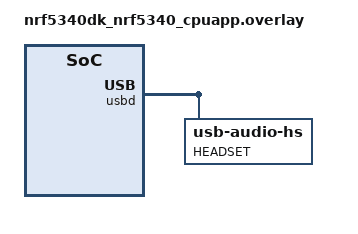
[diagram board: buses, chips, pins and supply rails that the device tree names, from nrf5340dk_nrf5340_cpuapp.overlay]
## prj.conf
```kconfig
CONFIG_USB=y
CONFIG_USB_DEVICE_STACK=y
CONFIG_USB_DEVICE_HID=y
CONFIG_USB_DEVICE_PRODUCT="Zephyr HID mouse/audio sample"

CONFIG_LOG=y
CONFIG_USB_DRIVER_LOG_LEVEL_ERR=y
CONFIG_USB_DEVICE_LOG_LEVEL_ERR=y

CONFIG_GPIO=y

#net buf options
CONFIG_NET_BUF=y
CONFIG_NET_BUF_USER_DATA_SIZE=0

#USB audio related configs
CONFIG_USB_DEVICE_AUDIO=y
```

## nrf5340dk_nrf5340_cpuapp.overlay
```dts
&usbd {
	hs_0 {
		label = "HEADSET";
		compatible = "usb-audio-hs";
		mic-feature-mute;
		mic-channel-l;
		mic-channel-r;

		hp-feature-mute;
		hp-channel-l;
		hp-channel-r;
	};
};
```

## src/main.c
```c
/*
 * Copyright (c) 2018 qianfan Zhao
 * Copyright (c) 2018 Nordic Semiconductor ASA
 *
 * SPDX-License-Identifier: Apache-2.0
 */
#include <zephyr.h>
#include <device.h>
#include <drivers/gpio.h>

#include <usb/usb_device.h>
#include <usb/class/usb_hid.h>
#include <usb/class/usb_audio.h>

#define LOG_LEVEL LOG_LEVEL_DBG
LOG_MODULE_REGISTER(main);

#define SW0_NODE DT_ALIAS(sw0)

#if DT_NODE_HAS_STATUS(SW0_NODE, okay)
#define PORT0		DT_GPIO_LABEL(SW0_NODE, gpios)
#define PIN0		DT_GPIO_PIN(SW0_NODE, gpios)
#define PIN0_FLAGS	DT_GPIO_FLAGS(SW0_NODE, gpios)
#else
#error "Unsupported board: sw0 devicetree alias is not defined"
#define PORT0		""
#define PIN0		0
#define PIN0_FLAGS	0
#endif

#define SW1_NODE DT_ALIAS(sw1)

#if DT_NODE_HAS_STATUS(SW1_NODE, okay)
#define PORT1		DT_GPIO_LABEL(SW1_NODE, gpios)
#define PIN1		DT_GPIO_PIN(SW1_NODE, gpios)
#define PIN1_FLAGS	DT_GPIO_FLAGS(SW1_NODE, gpios)
#endif

#define SW2_NODE DT_ALIAS(sw2)

#if DT_NODE_HAS_STATUS(SW2_NODE, okay)
#define PORT2		DT_GPIO_LABEL(SW2_NODE, gpios)
#define PIN2		DT_GPIO_PIN(SW2_NODE, gpios)
#define PIN2_FLAGS	DT_GPIO_FLAGS(SW2_NODE, gpios)
#endif

#define SW3_NODE DT_ALIAS(sw3)

#if DT_NODE_HAS_STATUS(SW3_NODE, okay)
#define PORT3		DT_GPIO_LABEL(SW3_NODE, gpios)
#define PIN3		DT_GPIO_PIN(SW3_NODE, gpios)
#define PIN3_FLAGS	DT_GPIO_FLAGS(SW3_NODE, gpios)
#endif

#define LED0_NODE DT_ALIAS(led0)

#if DT_NODE_HAS_STATUS(LED0_NODE, okay)
#define LED_PORT	DT_GPIO_LABEL(LED0_NODE, gpios)
#define LED		DT_GPIO_PIN(LED0_NODE, gpios)
#define LED_FLAGS	DT_GPIO_FLAGS(LED0_NODE, gpios)
#else
#error "Unsupported board: led0 devicetree alias is not defined"
#define LED_PORT	""
#define LED		0
#define LED_FLAGS	0
#endif

static const uint8_t hid_report_desc[] = HID_MOUSE_REPORT_DESC(2);

static uint8_t def_val[4];
static volatile uint8_t status[4];
static K_SEM_DEFINE(sem, 0, 1);	/* starts off "not available" */
static struct gpio_callback callback[4];
static enum usb_dc_status_code usb_status;

#define MOUSE_BTN_REPORT_POS	0
#define MOUSE_X_REPORT_POS	1
#define MOUSE_Y_REPORT_POS	2

#define MOUSE_BTN_LEFT		BIT(0)
#define MOUSE_BTN_RIGHT		BIT(1)
#define MOUSE_BTN_MIDDLE	BIT(2)



static void status_cb(enum usb_dc_status_code status, const uint8_t *param)
{
	usb_status = status;
}

static void left_button(const struct device *gpio, struct gpio_callback *cb,
			uint32_t pins)
{
	int ret;
	uint8_t state = status[MOUSE_BTN_REPORT_POS];

	if (IS_ENABLED(CONFIG_USB_DEVICE_REMOTE_WAKEUP)) {
		if (usb_status == USB_DC_SUSPEND) {
			usb_wakeup_request();
			return;
		}
	}

	ret = gpio_pin_get(gpio, PIN0);
	if (ret < 0) {
		LOG_ERR("Failed to get the state of pin %u, error: %d",
			PIN0, ret);
		return;
	}

	if (def_val[0] != (uint8_t)ret) {
		state |= MOUSE_BTN_LEFT;
	} else {
		state &= ~MOUSE_BTN_LEFT;
	}

	if (status[MOUSE_BTN_REPORT_POS] != state) {
		status[MOUSE_BTN_REPORT_POS] = state;
		k_sem_give(&sem);
	}
}

#if DT_NODE_HAS_STATUS(SW1_NODE, okay)
static void right_button(const struct device *gpio, struct gpio_callback *cb,
			 uint32_t pins)
{
	int ret;
	uint8_t state = status[MOUSE_BTN_REPORT_POS];

	if (IS_ENABLED(CONFIG_USB_DEVICE_REMOTE_WAKEUP)) {
		if (usb_status == USB_DC_SUSPEND) {
			usb_wakeup_request();
			return;
		}
	}

	ret = gpio_pin_get(gpio, PIN1);
	if (ret < 0) {
		LOG_ERR("Failed to get the state of pin %u, error: %d",
			PIN1, ret);
		return;
	}

	if (def_val[1] != (uint8_t)ret) {
		state |= MOUSE_BTN_RIGHT;
	} else {
		state &= ~MOUSE_BTN_RIGHT;
	}

	if (status[MOUSE_BTN_REPORT_POS] != state) {
		status[MOUSE_BTN_REPORT_POS] = state;
		k_sem_give(&sem);
	}
}
#endif

#if DT_NODE_HAS_STATUS(SW2_NODE, okay)
static void x_move(const struct device *gpio, struct gpio_callback *cb,
		   uint32_t pins)
{
	int ret;
	uint8_t state = status[MOUSE_X_REPORT_POS];

	ret = gpio_pin_get(gpio, PIN2);
	if (ret < 0) {
		LOG_ERR("Failed to get the state of pin %u, error: %d",
			PIN2, ret);
		return;
	}

	if (def_val[2] != (uint8_t)ret) {
		state += 10U;
	}

	if (status[MOUSE_X_REPORT_POS] != state) {
		status[MOUSE_X_REPORT_POS] = state;
		k_sem_give(&sem);
	}
}
#endif

#if DT_NODE_HAS_STATUS(SW3_NODE, okay)
static void y_move(const struct device *gpio, struct gpio_callback *cb,
		   uint32_t pins)
{
	int ret;
	uint8_t state = status[MOUSE_Y_REPORT_POS];

	ret = gpio_pin_get(gpio, PIN3);
	if (ret < 0) {
		LOG_ERR("Failed to get the state of pin %u, error: %d",
			PIN3, ret);
		return;
	}

	if (def_val[3] != (uint8_t)ret) {
		state += 10U;
	}

	if (status[MOUSE_Y_REPORT_POS] != state) {
		status[MOUSE_Y_REPORT_POS] = state;
		k_sem_give(&sem);
	}
}
#endif

int callbacks_configure(const struct device *gpio, uint32_t pin, int flags,
			gpio_callback_handler_t handler,
			struct gpio_callback *callback, uint8_t *val)
{
	int ret;

	if (!gpio) {
		LOG_ERR("Could not find PORT");
		return -ENXIO;
	}

	ret = gpio_pin_configure(gpio, pin, GPIO_INPUT | flags);
	if (ret < 0) {
		LOG_ERR("Failed to configure pin %u, error: %d",
			pin, ret);
		return ret;
	}

	ret = gpio_pin_get(gpio, pin);
	if (ret < 0) {
		LOG_ERR("Failed to get the state of pin %u, error: %d",
			pin, ret);
		return ret;
	}

	*val = (uint8_t)ret;

	gpio_init_callback(callback, handler, BIT(pin));
	ret = gpio_add_callback(gpio, callback);
	if (ret < 0) {
		LOG_ERR("Failed to add the callback for pin %u, error: %d",
			pin, ret);
		return ret;
	}

	ret = gpio_pin_interrupt_configure(gpio, pin, GPIO_INT_EDGE_BOTH);
	if (ret < 0) {
		LOG_ERR("Failed to configure interrupt for pin %u, error: %d",
			pin, ret);
		return ret;
	}

	return 0;
}

static void data_received(const struct device *dev,
			  struct net_buf *buffer,
			  size_t size)
{
	int ret;

	if (!buffer || !size) {
		/* This should never happen */
		return;
	}

	LOG_DBG("Received %d data, buffer %p", size, buffer);

	/* Check if the device OUT buffer can be used for input */
	if (size == usb_audio_get_in_frame_size(dev)) {
		ret = usb_audio_send(dev, buffer, size);
		if (ret) {
			net_buf_unref(buffer);
		}
	} else {
		net_buf_unref(buffer);
	}
}

static void feature_update(const struct device *dev,
			   const struct usb_audio_fu_evt *evt)
{
	LOG_DBG("Control selector %d for channel %d updated",
		evt->cs, evt->channel);
	switch (evt->cs) {
	case USB_AUDIO_FU_MUTE_CONTROL:
	default:
		break;
	}
}

static const struct usb_audio_ops ops = {
	.data_received_cb = data_received,
	.feature_update_cb = feature_update,
};

void main(void)
{
	int ret;
	uint8_t report[4] = { 0x00 };
	const struct device *led_dev, *hid_dev, *hs_dev;

	led_dev = device_get_binding(LED_PORT);
	if (led_dev == NULL) {
		LOG_ERR("Cannot get LED");
		return;
	}

	hid_dev = device_get_binding("HID_0");
	if (hid_dev == NULL) {
		LOG_ERR("Cannot get USB HID Device");
		return;
	}

	ret = gpio_pin_configure(led_dev, LED, GPIO_OUTPUT | LED_FLAGS);
	if (ret < 0) {
		LOG_ERR("Failed to configure the LED pin, error: %d", ret);
		return;
	}

	if (callbacks_configure(device_get_binding(PORT0), PIN0, PIN0_FLAGS,
				&left_button, &callback[0], &def_val[0])) {
		LOG_ERR("Failed configuring left button callback.");
		return;
	}

#if DT_NODE_HAS_STATUS(SW1_NODE, okay)
	if (callbacks_configure(device_get_binding(PORT1), PIN1, PIN1_FLAGS,
				&right_button, &callback[1], &def_val[1])) {
		LOG_ERR("Failed configuring right button callback.");
		return;
	}
#endif

#if DT_NODE_HAS_STATUS(SW2_NODE, okay)
	if (callbacks_configure(device_get_binding(PORT2), PIN2, PIN2_FLAGS,
				&x_move, &callback[2], &def_val[2])) {
		LOG_ERR("Failed configuring X axis movement callback.");
		return;
	}
#endif

#if DT_NODE_HAS_STATUS(SW3_NODE, okay)
	if (callbacks_configure(device_get_binding(PORT3), PIN3, PIN3_FLAGS,
				&y_move, &callback[3], &def_val[3])) {
		LOG_ERR("Failed configuring Y axis movement callback.");
		return;
	}
#endif

	usb_hid_register_device(hid_dev,
				hid_report_desc, sizeof(hid_report_desc),
				NULL);

	usb_hid_init(hid_dev);

	// Registering USB audio device
	hs_dev = device_get_binding("HEADSET");

	if (!hs_dev) {
		LOG_ERR("Can not get USB Headset Device");
		return;
	}

	usb_audio_register(hs_dev, &ops);

	// Enabling USB
	ret = usb_enable(status_cb);
	if (ret != 0) {
		LOG_ERR("Failed to enable USB");
		return;
	}

	while (true) {
		k_sem_take(&sem, K_FOREVER);

		report[MOUSE_BTN_REPORT_POS] = status[MOUSE_BTN_REPORT_POS];
		report[MOUSE_X_REPORT_POS] = status[MOUSE_X_REPORT_POS];
		status[MOUSE_X_REPORT_POS] = 0U;
		report[MOUSE_Y_REPORT_POS] = status[MOUSE_Y_REPORT_POS];
		status[MOUSE_Y_REPORT_POS] = 0U;
		ret = hid_int_ep_write(hid_dev, report, sizeof(report), NULL);
		if (ret) {
			LOG_ERR("HID write error, %d", ret);
		}

		/* Toggle LED on sent report */
		ret = gpio_pin_toggle(led_dev, LED);
		if (ret < 0) {
			LOG_ERR("Failed to toggle the LED pin, error: %d", ret);
		}
	}
}
```
